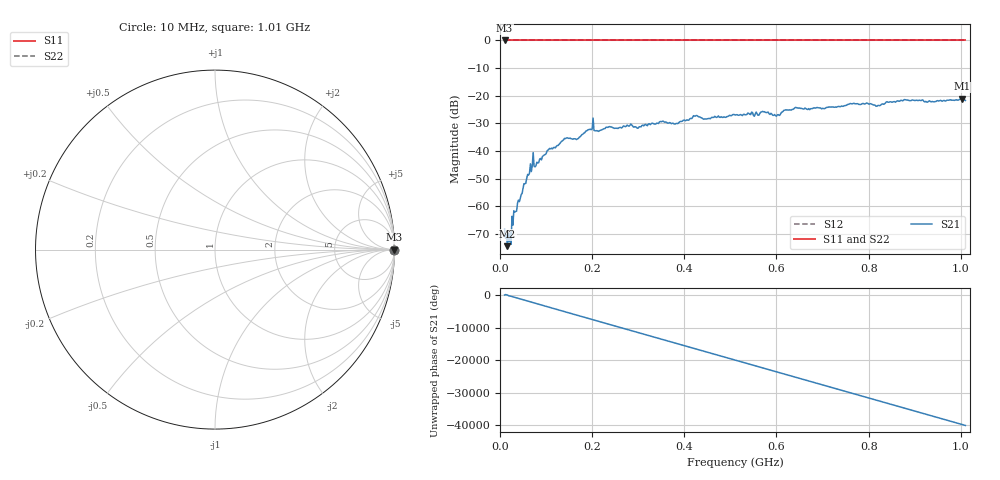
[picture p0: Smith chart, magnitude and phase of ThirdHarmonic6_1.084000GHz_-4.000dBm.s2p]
! 8/16/2025 9:59:24 AM
! C:\ANRITSUVNA\TEMP\TEMP.S2P
! CHANNEL.1
! TR.MEASUREMENT
! RAW.DATA
! RF.CORRECTION.OFF
! AVERAGING.OFF
! IF.BANDWIDTH: 5KHZ
! SWEEPTYPE:  FREQ.SWEEP(Linear)
! Reference Plane Port Info
! PORT:  PORT1  PORT2
! DISTANCE:  0  m  0  m
! TIME:  0  s  0  s
! PHASE.OFFSET:  0  deg.  0  deg.
! LOSS:  0  dB  0  dB
! REF.LOSS:  0  dB  0  dB
! REF.FREQ:  0  Hz  0  Hz
! Power Info
! POWER:  -20  dBm  -20  dBm
! EFF.POWER:  -20  dBm  -20  dBm
! SOURCE.ATTEN:  0  dB  0  dB
! TEST.ATTEN:  0  dB  0  dB
# GHZ S RI R 50.0
! FREQ.GHZ  S11RE  S11IM  S21RE  S21IM  S12RE  S12IM  S22RE  S22IM
!; PortSelection: Port_12
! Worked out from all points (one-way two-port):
!   501 points, 10 MHz to 1.01 GHz, reference 50 ohm
!   highest |S21| = -21.12 dB at 1.002 GHz (marker M1); lowest = -74.5 dB at 16 MHz (marker M2)
!   lowest |S11| = 0.0 dB at 10 MHz (marker M3)
!   |S11| at or under -10 dB: nowhere
!   |S22| runs from 0.0 to 0.0 dB; largest |S21 - S12| = 1.1
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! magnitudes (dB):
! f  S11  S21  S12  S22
! 10 MHz  0.0  -68.4  0.0  0.0
! 16 MHz  0.0  -74.5  0.0  0.0
! 20 MHz  0.0  -72.8  0.0  0.0
! 30 MHz  0.0  -61.6  0.0  0.0
! 70 MHz  0.0  -45.4  0.0  0.0
! 78 MHz  0.0  -45.4  0.0  0.0
! 106 MHz  0.0  -39.5  0.0  0.0
! 142 MHz  0.0  -35.5  0.0  0.0
! 178 MHz  0.0  -34.1  0.0  0.0
! 198 MHz  0.0  -32.3  0.0  0.0
! 212 MHz  0.0  -32.7  0.0  0.0
! 344 MHz  0.0  -30.0  0.0  0.0
! 382 MHz  0.0  -30.1  0.0  0.0
! 424 MHz  0.0  -27.4  0.0  0.0
! 510 MHz  0.0  -26.9  0.0  0.0
! 570 MHz  0.0  -25.7  0.0  0.0
! 602 MHz  0.0  -26.9  0.0  0.0
! 642 MHz  0.0  -24.2  0.0  0.0
! 678 MHz  0.0  -24.7  0.0  0.0
! 844 MHz  0.0  -22.3  0.0  0.0
! 1.002 GHz  0.0  -21.1  0.0  0.0
! 1.01 GHz  0.0  -21.7  0.0  0.0
